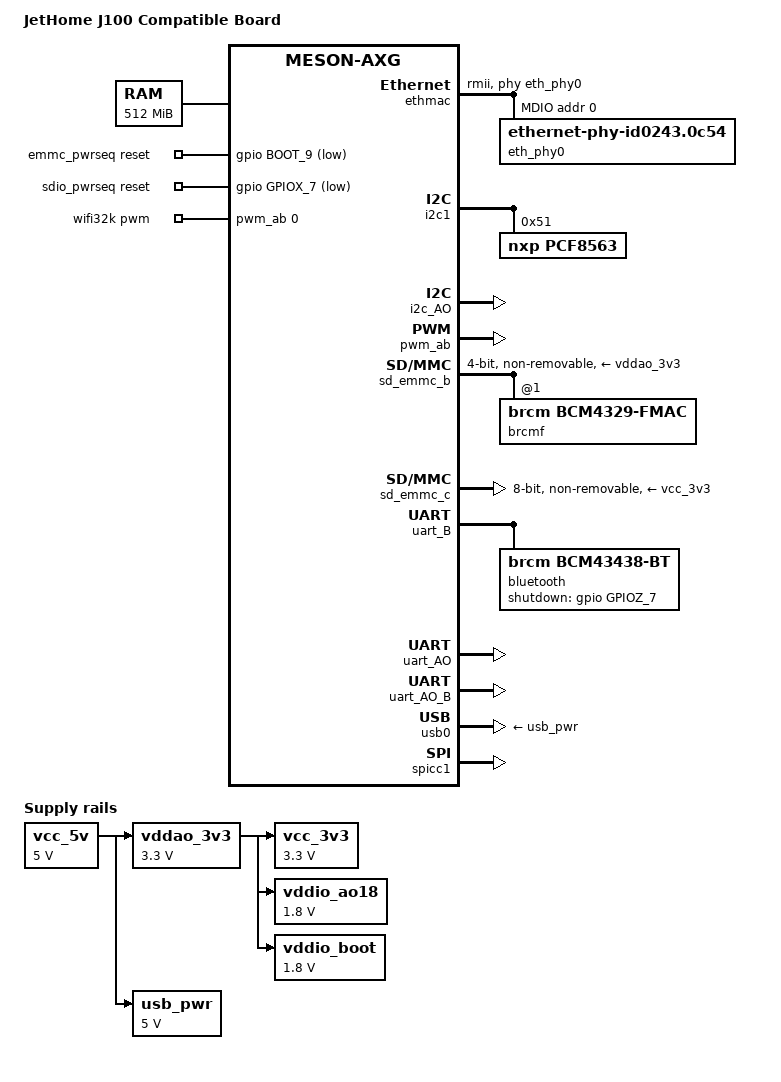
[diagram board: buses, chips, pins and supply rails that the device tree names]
// SPDX-License-Identifier: (GPL-2.0+ OR MIT)
/*
 * Copyright (c) 2017 Amlogic, Inc. All rights reserved.
 */

/dts-v1/;

#include "meson-axg.dtsi"
#include <dt-bindings/input/input.h>

/ {
	compatible = "jethome,j100", "amlogic,a113d", "amlogic,meson-axg";
	model = "JetHome J100 Compatible Board";

	aliases {
                serial0 = &uart_AO;   /* Console */
		serial1 = &uart_B;    /* Bluetooth */
		serial2 = &uart_AO_B; /* External UART (Wireless Module) */
        };

	chosen {
                stdout-path = "serial0:115200n8";
        };

	/* 512MB RAM */
	memory@0 {
                device_type = "memory";
                reg = <0x0 0x0 0x0 0x20000000>;
        };

	emmc_pwrseq: emmc-pwrseq {
		compatible = "mmc-pwrseq-emmc";
		reset-gpios = <&gpio BOOT_9 GPIO_ACTIVE_LOW>;
	};

	vcc_3v3: regulator-vcc_3v3 {
		compatible = "regulator-fixed";
		regulator-name = "VCC_3V3";
		regulator-min-microvolt = <3300000>;
		regulator-max-microvolt = <3300000>;
		vin-supply = <&vddao_3v3>;
		regulator-always-on;
	};

	vcc_5v: regulator-vcc_5v {
		compatible = "regulator-fixed";
		regulator-name = "VCC5V";
		regulator-min-microvolt = <5000000>;
		regulator-max-microvolt = <5000000>;
		regulator-always-on;
	};

	vddao_3v3: regulator-vddao_3v3 {
		compatible = "regulator-fixed";
		regulator-name = "VDDAO_3V3";
		regulator-min-microvolt = <3300000>;
		regulator-max-microvolt = <3300000>;
		vin-supply = <&vcc_5v>;
		regulator-always-on;
	};

	vddio_ao18: regulator-vddio_ao18 {
		compatible = "regulator-fixed";
		regulator-name = "VDDIO_AO18";
		regulator-min-microvolt = <1800000>;
		regulator-max-microvolt = <1800000>;
		vin-supply = <&vddao_3v3>;
		regulator-always-on;
	};

	vddio_boot: regulator-vddio_boot {
		compatible = "regulator-fixed";
		regulator-name = "VDDIO_BOOT";
		regulator-min-microvolt = <1800000>;
		regulator-max-microvolt = <1800000>;
		vin-supply = <&vddao_3v3>;
		regulator-always-on;
	};

	usb_pwr: regulator-usb_pwr {
		compatible = "regulator-fixed";
		regulator-name = "USB_PWR";
		regulator-min-microvolt = <5000000>;
		regulator-max-microvolt = <5000000>;
		vin-supply = <&vcc_5v>;
		regulator-always-on;
	};

	sdio_pwrseq: sdio-pwrseq {
		compatible = "mmc-pwrseq-simple";
		reset-gpios = <&gpio GPIOX_7 GPIO_ACTIVE_LOW>;
		clocks = <&wifi32k>;
		clock-names = "ext_clock";
	};

	wifi32k: wifi32k {
		compatible = "pwm-clock";
		#clock-cells = <0>;
		clock-frequency = <32768>;
		pwms = <&pwm_ab 0 30518 0>; /* PWM_A at 32.768KHz */
	};

	partitions: partitions{
		parts = <14>;
		part-0 = <&logo>;
		part-1 = <&recovery>;
		part-2 = <&rsv>;
		part-3 = <&tee>;
		part-4 = <&crypt>;
		part-5 = <&misc>;
		part-6 = <&instaboot>;
		part-7 = <&boot>;
		part-8 = <&vendor>;
		part-9 = <&odm>;
		part-10 = <&system>;
		part-11 = <&cache>;
		part-12 = <&udisk>;
		part-13 = <&data>;

		logo:logo{
			pname = "logo";
			size = <0x0 0x2000000>;
			mask = <1>;
		};
		recovery:recovery{
			pname = "recovery";
			size = <0x0 0x2000000>;
			mask = <1>;
		};
		rsv:rsv{
			pname = "rsv";
			size = <0x0 0x800000>;
			mask = <1>;
		};
		tee:tee{
			pname = "tee";
			size = <0x0 0x800000>;
			mask = <1>;
		};
		crypt:crypt{
			pname = "crypt";
			size = <0x0 0x2000000>;
			mask = <1>;
		};
		misc:misc{
			pname = "misc";
			size = <0x0 0x2000000>;
			mask = <1>;
		};
		instaboot:instaboot{
			pname = "instaboot";
			size = <0x0 0x400000>;
			mask = <1>;
		};
		boot:boot
		{
			pname = "boot";
			size = <0x0 0x8000000>;
			mask = <1>;
		};
		vendor:vendor
		{
			pname = "vendor";
			size = <0x0 0x10000000>;
			mask = <1>;
		};
		odm:odm
		{
			pname = "odm";
			size = <0x0 0x10000000>;
			mask = <1>;
		};
		system:system
		{
			pname = "system";
			size = <0x0 0x82000000>;
			mask = <1>;
		};
		cache:cache
		{
			pname = "cache";
			size = <0x0 0x20000000>;
			mask = <2>;
		};
		udisk:udisk
		{
			pname = "udisk";
			size = <0x0 0x20000000>;
			mask = <2>;
		};
		data:data
		{
			pname = "data";
			size = <0xffffffff 0xffffffff>;
			mask = <4>;
		};
	};

	// It is necessary only as key map to read efuse values from nvmem from Armbian OS.
	efusekey:efusekey{
		keynum = <4>;
		key0 = <&key_0>;
		key1 = <&key_1>;
		key2 = <&key_2>;
		key3 = <&key_3>;
		key_0:key_0{
			keyname = "mac";
			offset = <0>;
			size = <6>;
		};
		key_1:key_1{
			keyname = "mac_bt";
			offset = <6>;
			size = <6>;
		};
		key_2:key_2{
			keyname = "mac_wifi";
			offset = <12>;
			size = <6>;
		};
		key_3:key_3{
			keyname = "usid";
			offset = <18>;
			size = <16>;
		};
	};

};

&ethmac {
	status = "okay";
	pinctrl-0 = <&eth_rmii_x_pins>;
	pinctrl-names = "default";
	phy-handle = <&eth_phy0>;
	phy-mode = "rmii";
	internal_phy=<0>;
	interrupts = <GIC_SPI 8 1>;

	mdio {
		compatible = "snps,dwmac-mdio";
		#address-cells = <1>;
		#size-cells = <0>;

		/* ICPlus IP101A/G Ethernet PHY (vendor_id=0x0243, model_id=0x0c54) */
		eth_phy0: ethernet-phy@0 {
			compatible = "ethernet-phy-id0243.0c54";
			max-speed = <100>;
			reg = <0>;
		};
	};
};

/* Internal I2C bus (on CPU module) */
&i2c1 {
	status = "okay";
	pinctrl-0 = <&i2c1_z_pins>;
	pinctrl-names = "default";

	/* RTC */
	pcf8563: pcf8563@51 {
		compatible = "nxp,pcf8563";
		reg = <0x51>;
		status = "okay";
	};
};

/* Peripheral I2C bus (on motherboard) */
&i2c_AO {
	status = "okay";
	pinctrl-0 = <&i2c_ao_sck_10_pins>, <&i2c_ao_sda_11_pins>;
	pinctrl-names = "default";
};

&pwm_ab {
	status = "okay";
	pinctrl-0 = <&pwm_a_x20_pins>;
	pinctrl-names = "default";
};

/* wifi module */
&sd_emmc_b {
	status = "okay";
	#address-cells = <1>;
	#size-cells = <0>;

	pinctrl-0 = <&sdio_pins>;
	pinctrl-1 = <&sdio_clk_gate_pins>;
	pinctrl-names = "default", "clk-gate";

	bus-width = <4>;
	cap-sd-highspeed;
	sd-uhs-sdr104;
	max-frequency = <200000000>;
	non-removable;
	disable-wp;

	mmc-pwrseq = <&sdio_pwrseq>;

	vmmc-supply = <&vddao_3v3>;
	vqmmc-supply = <&vddio_boot>;

	brcmf: wifi@1 {
		reg = <1>;
		compatible = "brcm,bcm4329-fmac";
	};
};

/* emmc storage */
&sd_emmc_c {
	status = "okay";
	pinctrl-0 = <&emmc_pins>, <&emmc_ds_pins>;
	pinctrl-1 = <&emmc_clk_gate_pins>;
	pinctrl-names = "default", "clk-gate";

	bus-width = <8>;
	cap-mmc-highspeed;
	max-frequency = <200000000>;
	non-removable;
	disable-wp;
	mmc-ddr-1_8v;
	mmc-hs200-1_8v;

	mmc-pwrseq = <&emmc_pwrseq>;

	vmmc-supply = <&vcc_3v3>;
	vqmmc-supply = <&vddio_boot>;
};

/* UART Bluetooth */
&uart_B {
	status = "okay";
	pinctrl-0 = <&uart_b_z_pins>, <&uart_b_z_cts_rts_pins>;
	pinctrl-names = "default";
	uart-has-rtscts;

	bluetooth {
		compatible = "brcm,bcm43438-bt";
		shutdown-gpios = <&gpio GPIOZ_7 GPIO_ACTIVE_HIGH>;
	};
};

/* UART Console */
&uart_AO {
	status = "okay";
	pinctrl-0 = <&uart_ao_a_pins>;
	pinctrl-names = "default";
};

/* UART Wireless module */
&uart_AO_B {
        status = "okay";
        pinctrl-0 = <&uart_ao_b_pins>;
        pinctrl-names = "default";
};

&usb0 {
	status = "okay";
	phy-supply = <&usb_pwr>;
};

&spicc1 {
	status = "okay";
};

&audio {
	status = "disabled";
};
